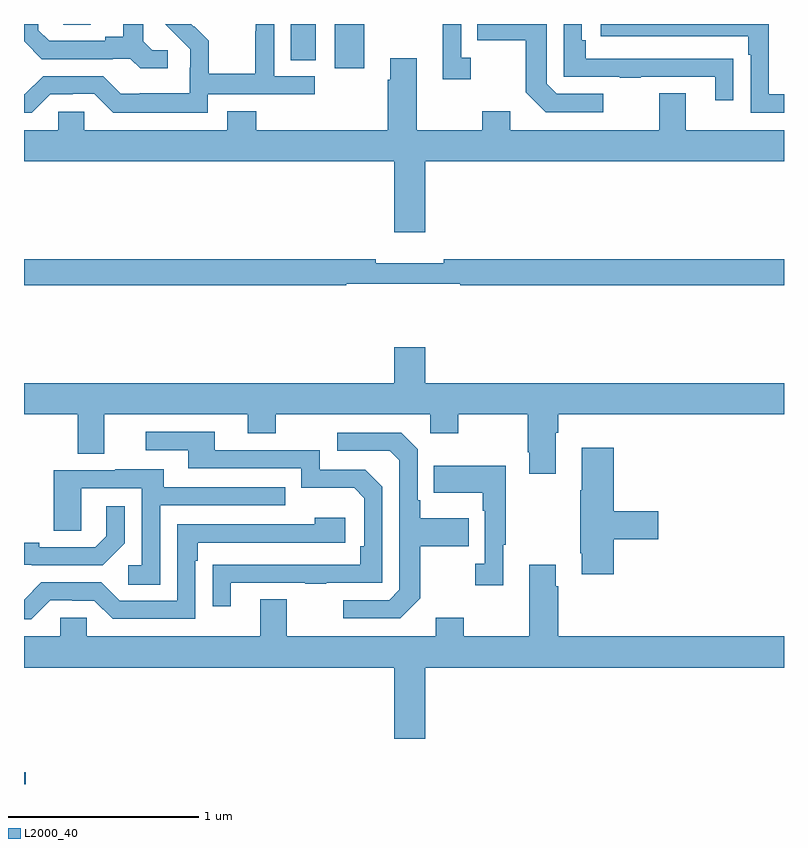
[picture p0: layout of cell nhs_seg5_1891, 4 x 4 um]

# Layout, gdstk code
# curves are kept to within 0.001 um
import gdstk
lib = gdstk.Library(unit=1e-6, precision=1e-09)
def R(c, l, rs):  # rectangles x0, y0, x1, y1
    for r in rs: c.add(gdstk.rectangle(r[:2], r[2:], *l))
def P(c, l, *ps):  # polygons
    for p in ps: c.add(gdstk.Polygon(p, *l))
L2000_40 = (2000, 40)

nhs_seg5_1891 = lib.new_cell('nhs_seg5_1891')
R(nhs_seg5_1891, L2000_40, [(223,870.799,223.009,870.86), (224.636,874.566,224.791,874.799), (224.405,874.609,224.536,874.799), (223.206,874.795,223.351,874.799)])
P(nhs_seg5_1891, L2000_40, [(223.968,874.428),(224.53,874.428),(224.53,874.524),(224.316,874.524),(224.316,874.799),(224.22,874.799),(224.22,874.76),(224.218,874.76),(224.218,874.537),(223.973,874.537),(223.973,874.711),(223.896,874.788),(223.893,874.785),(223.879,874.799),(223.743,874.799),(223.874,874.666),(223.874,874.569),(223.872,874.569),(223.872,874.435),(223.609,874.435),(223.609,874.431),(223.509,874.431),(223.416,874.524),(223.101,874.524),(223.005,874.428),(223,874.428),(223,874.332),(223.041,874.332),(223.137,874.428),(223.256,874.428),(223.256,874.431),(223.371,874.431),(223.471,874.331),(223.968,874.331)],
  [(223.756,874.662),(223.674,874.662),(223.627,874.709),(223.627,874.799),(223.523,874.799),(223.523,874.733),(223.427,874.733),(223.427,874.71),(223.132,874.71),(223.075,874.767),(223.075,874.799),(223,874.799),(223,874.708),(223.094,874.614),(223.466,874.614),(223.466,874.617),(223.56,874.617),(223.612,874.565),(223.756,874.565)],
  [(226.733,874.616),(226.631,874.616),(226.631,874.617),(225.956,874.617),(225.956,874.714),(225.936,874.714),(225.936,874.799),(225.84,874.799),(225.84,874.521),(226.135,874.521),(226.135,874.516),(226.247,874.516),(226.247,874.521),(226.637,874.521),(226.637,874.398),(226.733,874.398)],
  [(225.352,874.622),(225.3,874.622),(225.3,874.799),(225.203,874.799),(225.203,874.509),(225.352,874.509)],
  [(226.048,874.431),(225.804,874.431),(225.75,874.485),(225.75,874.799),(225.385,874.799),(225.385,874.714),(225.642,874.714),(225.642,874.441),(225.747,874.335),(226.048,874.335)],
  [(227,874.428),(226.92,874.428),(226.92,874.799),(226.035,874.799),(226.035,874.734),(226.811,874.734),(226.811,874.637),(226.824,874.637),(226.824,874.332),(227,874.332)],
  [(225.112,874.076),(227,874.076),(227,874.24),(226.483,874.24),(226.483,874.435),(226.343,874.435),(226.343,874.24),(225.559,874.24),(225.559,874.339),(225.412,874.339),(225.412,874.24),(225.067,874.24),(225.067,874.618),(224.927,874.618),(224.927,874.505),(224.915,874.505),(224.915,874.24),(224.222,874.24),(224.222,874.339),(224.069,874.339),(224.069,874.24),(223.317,874.24),(223.317,874.338),(223.179,874.338),(223.179,874.24),(223,874.24),(223,874.076),(224.948,874.076),(224.948,873.702),(225.112,873.702)],
  [(224.696,873.432),(225.296,873.432),(225.296,873.424),(227,873.424),(227,873.56),(225.208,873.56),(225.208,873.541),(224.852,873.541),(224.852,873.56),(223,873.56),(223,873.424),(224.696,873.424)],
  [(225.799,872.648),(225.812,872.648),(225.812,872.744),(227,872.744),(227,872.908),(225.112,872.908),(225.112,873.097),(224.948,873.097),(224.948,872.908),(223,872.908),(223,872.744),(223.283,872.744),(223.283,872.536),(223.423,872.536),(223.423,872.744),(224.177,872.744),(224.177,872.645),(224.325,872.645),(224.325,872.744),(225.138,872.744),(225.138,872.645),(225.285,872.645),(225.285,872.744),(225.652,872.744),(225.652,872.545),(225.659,872.545),(225.659,872.433),(225.799,872.433)],
  [(224.089,871.857),(224.479,871.857),(224.479,871.852),(224.591,871.852),(224.591,871.857),(224.886,871.857),(224.886,872.364),(224.796,872.454),(224.556,872.454),(224.556,872.556),(224.005,872.556),(224.005,872.652),(223.641,872.652),(223.641,872.556),(223.865,872.556),(223.865,872.46),(224.46,872.46),(224.46,872.357),(224.737,872.357),(224.79,872.304),(224.79,872.05),(224.77,872.05),(224.77,871.953),(223.993,871.952),(223.993,871.734),(224.089,871.734)],
  [(225.085,871.777),(225.085,872.05),(225.341,872.05),(225.341,872.197),(225.085,872.197),(225.085,872.293),(225.072,872.293),(225.072,872.562),(224.985,872.649),(224.649,872.649),(224.649,872.553),(224.925,872.553),(224.976,872.502),(224.976,871.821),(224.922,871.767),(224.679,871.767),(224.679,871.671),(224.979,871.671)],
  [(226.103,872.087),(226.339,872.087),(226.339,872.234),(226.103,872.234),(226.103,872.569),(225.935,872.569),(225.935,872.345),(225.928,872.345),(225.928,872.014),(225.935,872.014),(225.935,871.902),(226.103,871.902)],
  [(225.523,872.057),(225.535,872.057),(225.535,872.473),(225.157,872.473),(225.157,872.333),(225.414,872.333),(225.414,872.237),(225.426,872.237),(225.426,871.958),(225.375,871.958),(225.375,871.845),(225.523,871.845)],
  [(223.716,872.265),(224.375,872.265),(224.375,872.361),(223.735,872.361),(223.735,872.455),(223.481,872.455),(223.481,872.451),(223.157,872.451),(223.157,872.131),(223.302,872.131),(223.302,872.355),(223.62,872.355),(223.62,871.95),(223.548,871.95),(223.548,871.849),(223.716,871.849)],
  [(223.53,872.066),(223.53,872.26),(223.433,872.26),(223.433,872.103),(223.376,872.046),(223.081,872.046),(223.081,872.069),(223,872.069),(223,871.953),(223.042,871.953),(223.042,871.95),(223.414,871.95)],
  [(223.137,871.767),(223.253,871.767),(223.253,871.764),(223.371,871.764),(223.467,871.668),(223.902,871.668),(223.902,871.973),(223.915,871.973),(223.915,872.07),(224.692,872.07),(224.692,872.2),(224.531,872.2),(224.531,872.166),(223.806,872.166),(223.806,871.764),(223.503,871.764),(223.407,871.86),(223.092,871.86),(223,871.768),(223,871.667),(223.037,871.667)],
  [(225.112,871.412),(227,871.412),(227,871.576),(225.812,871.576),(225.812,871.841),(225.799,871.841),(225.799,871.954),(225.659,871.954),(225.659,871.576),(225.315,871.576),(225.315,871.675),(225.167,871.675),(225.167,871.576),(224.383,871.576),(224.383,871.771),(224.243,871.771),(224.243,871.576),(223.329,871.576),(223.329,871.674),(223.191,871.674),(223.191,871.576),(223,871.576),(223,871.412),(224.948,871.412),(224.948,871.038),(225.112,871.038)])

lib.write_gds('nhs_seg5_1891.gds')
